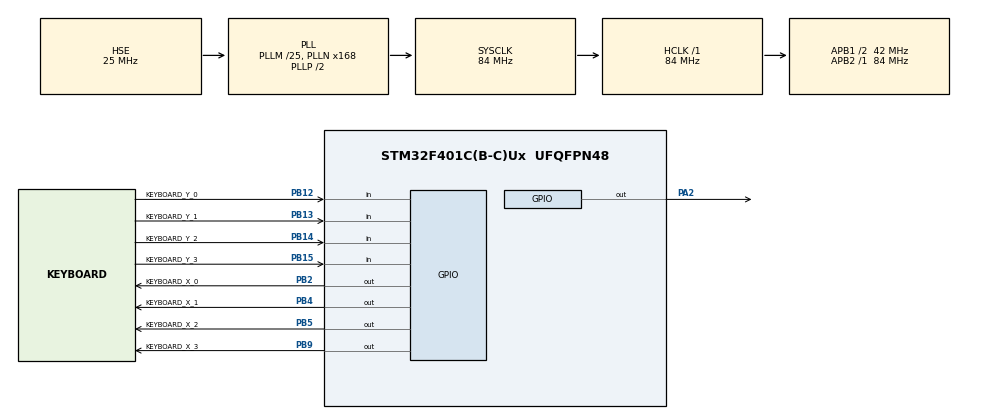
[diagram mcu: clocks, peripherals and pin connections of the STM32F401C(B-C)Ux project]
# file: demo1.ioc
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Mcu.Family=STM32F4
Mcu.Name=STM32F401C(B-C)Ux
Mcu.Package=UFQFPN48
NVIC.PriorityGroup=NVIC_PRIORITYGROUP_4
PA13.Mode=Serial_Wire
PA13.Signal=SYS_JTMS-SWDIO
PA14.Mode=Serial_Wire
PA14.Signal=SYS_JTCK-SWCLK
PA2.PinState=GPIO_PIN_SET
PA2.Signal=GPIO_Output
PB12.GPIO_Label=KEYBOARD_Y_0
PB12.GPIO_PuPd=GPIO_PULLUP
PB12.Signal=GPIO_Input
PB13.GPIO_Label=KEYBOARD_Y_1
PB13.GPIO_PuPd=GPIO_PULLUP
PB13.Signal=GPIO_Input
PB14.GPIO_Label=KEYBOARD_Y_2
PB14.GPIO_PuPd=GPIO_PULLUP
PB14.Signal=GPIO_Input
PB15.GPIO_Label=KEYBOARD_Y_3
PB15.GPIO_PuPd=GPIO_PULLUP
PB15.Signal=GPIO_Input
PB2.GPIO_Label=KEYBOARD_X_0
PB2.GPIO_Speed=GPIO_SPEED_FREQ_VERY_HIGH
PB2.PinState=GPIO_PIN_RESET
PB2.Signal=GPIO_Output
PB4.GPIO_Label=KEYBOARD_X_1
PB4.GPIO_Speed=GPIO_SPEED_FREQ_VERY_HIGH
PB4.Signal=GPIO_Output
PB5.GPIO_Label=KEYBOARD_X_2
PB5.GPIO_Speed=GPIO_SPEED_FREQ_VERY_HIGH
PB5.Signal=GPIO_Output
PB9.GPIO_Label=KEYBOARD_X_3
PB9.GPIO_Speed=GPIO_SPEED_FREQ_VERY_HIGH
PB9.Signal=GPIO_Output
PH0\ -\ OSC_IN.Mode=HSE-External-Oscillator
PH0\ -\ OSC_IN.Signal=RCC_OSC_IN
PH1\ -\ OSC_OUT.Mode=HSE-External-Oscillator
PH1\ -\ OSC_OUT.Signal=RCC_OSC_OUT
ProjectManager.HeapSize=0x200
ProjectManager.StackSize=0x400
ProjectManager.TargetToolchain=MDK-ARM V5.27
RCC.48MHZClocksFreq_Value=42000000
RCC.AHBFreq_Value=84000000
RCC.APB1CLKDivider=RCC_HCLK_DIV2
RCC.APB1Freq_Value=42000000
RCC.APB1TimFreq_Value=84000000
RCC.APB2Freq_Value=84000000
RCC.APB2TimFreq_Value=84000000
RCC.CortexFreq_Value=84000000
RCC.HCLKFreq_Value=84000000
RCC.HSE_VALUE=25000000
RCC.HSI_VALUE=16000000
RCC.LSE_VALUE=32768
RCC.PLLM=25
RCC.PLLN=168
RCC.PLLSourceVirtual=RCC_PLLSOURCE_HSE
RCC.SYSCLKFreq_VALUE=84000000
RCC.SYSCLKSource=RCC_SYSCLKSOURCE_PLLCLK
RCC.VCOOutputFreq_Value=168000000
board=custom

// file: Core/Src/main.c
/* USER CODE BEGIN Header */
/**
  ******************************************************************************
  * @file           : main.c
  * @brief          : Main program body
  ******************************************************************************
  * @attention
  *
  * <h2><center>&copy; Copyright (c) 2024 STMicroelectronics.
  * All rights reserved.</center></h2>
  *
  * This software component is licensed by ST under BSD 3-Clause license,
  * the "License"; You may not use this file except in compliance with the
  * License. You may obtain a copy of the License at:
  *                        opensource.org/licenses/BSD-3-Clause
  *
  ******************************************************************************
  */
/* USER CODE END Header */
#include "main.h"
#include "gpio.h"

void SystemClock_Config(void);

/* USER CODE BEGIN 0 */

		 uint32_t key_scan()
{
		 int key_code=0;

		 HAL_GPIO_WritePin(GPIOB,GPIO_PIN_2,0);
		 HAL_GPIO_WritePin(GPIOB,GPIO_PIN_4,1);
		 HAL_GPIO_WritePin(GPIOB,GPIO_PIN_5,1);
		 HAL_GPIO_WritePin(GPIOB,GPIO_PIN_9,1);
		 if(HAL_GPIO_ReadPin(GPIOB,GPIO_PIN_12) == 0) key_code = 1;
		 if(HAL_GPIO_ReadPin(GPIOB,GPIO_PIN_13) == 0) key_code = 2;
		 if(HAL_GPIO_ReadPin(GPIOB,GPIO_PIN_14) == 0) key_code = 3;
		 if(HAL_GPIO_ReadPin(GPIOB,GPIO_PIN_15) == 0) key_code = 4;

		 HAL_GPIO_WritePin(GPIOB,GPIO_PIN_2,1);
		 HAL_GPIO_WritePin(GPIOB,GPIO_PIN_4,0);
		 HAL_GPIO_WritePin(GPIOB,GPIO_PIN_5,1);
		 HAL_GPIO_WritePin(GPIOB,GPIO_PIN_9,1);
		 if(HAL_GPIO_ReadPin(GPIOB,GPIO_PIN_12) == 0) key_code = 5;
		 if(HAL_GPIO_ReadPin(GPIOB,GPIO_PIN_13) == 0) key_code = 6;
		 if(HAL_GPIO_ReadPin(GPIOB,GPIO_PIN_14) == 0) key_code = 7;
		 if(HAL_GPIO_ReadPin(GPIOB,GPIO_PIN_15) == 0) key_code = 8;

		 HAL_GPIO_WritePin(GPIOB,GPIO_PIN_2,1);
		 HAL_GPIO_WritePin(GPIOB,GPIO_PIN_4,1);
		 HAL_GPIO_WritePin(GPIOB,GPIO_PIN_5,0);
		 HAL_GPIO_WritePin(GPIOB,GPIO_PIN_9,1);
		 if(HAL_GPIO_ReadPin(GPIOB,GPIO_PIN_12) == 0) key_code = 9;
		 if(HAL_GPIO_ReadPin(GPIOB,GPIO_PIN_13) == 0) key_code = 10;
		 if(HAL_GPIO_ReadPin(GPIOB,GPIO_PIN_14) == 0) key_code = 11;
		 if(HAL_GPIO_ReadPin(GPIOB,GPIO_PIN_15) == 0) key_code = 12;

		 HAL_GPIO_WritePin(GPIOB,GPIO_PIN_2,1);
		 HAL_GPIO_WritePin(GPIOB,GPIO_PIN_4,1);
		 HAL_GPIO_WritePin(GPIOB,GPIO_PIN_5,1);
		 HAL_GPIO_WritePin(GPIOB,GPIO_PIN_9,0);
		 if(HAL_GPIO_ReadPin(GPIOB,GPIO_PIN_12) == 0) key_code = 13;
		 if(HAL_GPIO_ReadPin(GPIOB,GPIO_PIN_13) == 0) key_code = 14;
		 if(HAL_GPIO_ReadPin(GPIOB,GPIO_PIN_14) == 0) key_code = 15;
		 if(HAL_GPIO_ReadPin(GPIOB,GPIO_PIN_15) == 0) key_code = 16;
		 return key_code;
}

/* USER CODE END 0 */

int main(void)
{
  /* USER CODE BEGIN 1 */
uint32_t tick=HAL_GetTick();
  /* USER CODE END 1 */

  /* MCU Configuration--------------------------------------------------------*/

  /* Reset of all peripherals, Initializes the Flash interface and the Systick. */
  HAL_Init();

  /* Configure the system clock */
  SystemClock_Config();

  /* Initialize all configured peripherals */
  MX_GPIO_Init();
  /* USER CODE BEGIN 2 */
HAL_GPIO_WritePin(GPIOA,GPIO_PIN_2,0);
  /* USER CODE END 2 */

  /* Infinite loop */
  /* USER CODE BEGIN WHILE */
  while (1)
  {

		if(HAL_GPIO_ReadPin(GPIOB,GPIO_PIN_8) == 0)
			{
				if(HAL_GetTick()-tick > 10)

				{
					HAL_GPIO_TogglePin(GPIOA,GPIO_PIN_2);

				}
				tick = HAL_GetTick();
			}
    /* USER CODE END WHILE */

    /* USER CODE BEGIN 3 */
				 uint32_t key=key_scan();
					if(key!=0)
			 {
					 if(HAL_GetTick()-tick>200)
					{
					 tick=HAL_GetTick();
					 }
			 }
					 else{
					 key=0;
					 }
			if(key==1)
			{

			HAL_GPIO_TogglePin(GPIOA,GPIO_PIN_2);
			}

  /* USER CODE END 3 */
}

void SystemClock_Config(void)
{
  RCC_OscInitTypeDef RCC_OscInitStruct = {0};
  RCC_ClkInitTypeDef RCC_ClkInitStruct = {0};

  /** Configure the main internal regulator output voltage
  */
  __HAL_RCC_PWR_CLK_ENABLE();
  __HAL_PWR_VOLTAGESCALING_CONFIG(PWR_REGULATOR_VOLTAGE_SCALE2);
  /** Initializes the RCC Oscillators according to the specified parameters
  * in the RCC_OscInitTypeDef structure.
  */
  RCC_OscInitStruct.OscillatorType = RCC_OSCILLATORTYPE_HSE;
  RCC_OscInitStruct.HSEState = RCC_HSE_ON;
  RCC_OscInitStruct.PLL.PLLState = RCC_PLL_ON;
  RCC_OscInitStruct.PLL.PLLSource = RCC_PLLSOURCE_HSE;
  RCC_OscInitStruct.PLL.PLLM = 25;
  RCC_OscInitStruct.PLL.PLLN = 168;
  RCC_OscInitStruct.PLL.PLLP = RCC_PLLP_DIV2;
  RCC_OscInitStruct.PLL.PLLQ = 4;
  if (HAL_RCC_OscConfig(&RCC_OscInitStruct) != HAL_OK)
  {
    Error_Handler();
  }
  /** Initializes the CPU, AHB and APB buses clocks
  */
  RCC_ClkInitStruct.ClockType = RCC_CLOCKTYPE_HCLK|RCC_CLOCKTYPE_SYSCLK
                              |RCC_CLOCKTYPE_PCLK1|RCC_CLOCKTYPE_PCLK2;
  RCC_ClkInitStruct.SYSCLKSource = RCC_SYSCLKSOURCE_PLLCLK;
  RCC_ClkInitStruct.AHBCLKDivider = RCC_SYSCLK_DIV1;
  RCC_ClkInitStruct.APB1CLKDivider = RCC_HCLK_DIV2;
  RCC_ClkInitStruct.APB2CLKDivider = RCC_HCLK_DIV1;

  if (HAL_RCC_ClockConfig(&RCC_ClkInitStruct, FLASH_LATENCY_2) != HAL_OK)
  {
    Error_Handler();
  }
}

void Error_Handler(void)
{
}

/************************ (C) COPYRIGHT STMicroelectronics *****END OF FILE****/
